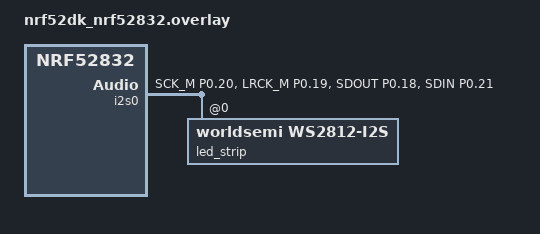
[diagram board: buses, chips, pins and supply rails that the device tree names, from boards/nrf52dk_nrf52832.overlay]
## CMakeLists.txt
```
cmake_minimum_required(VERSION 3.20.0)
find_package(Zephyr REQUIRED HINTS $ENV{ZEPHYR_BASE})

project(moonboard-mini-led-nrf52dk)

FILE(GLOB app_sources src/*.c)
target_sources(app PRIVATE ${app_sources})
```

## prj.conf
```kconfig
CONFIG_LED_STRIP=y

# Enable the bluetooth
CONFIG_BT=y
CONFIG_BT_PERIPHERAL=y
CONFIG_BT_DEVICE_NAME="Moonboard Mini"
CONFIG_BT_MAX_CONN=3
CONFIG_BT_MAX_PAIRED=0

# Enable the NUS service
CONFIG_BT_NUS=y
CONFIG_BT_NUS_SECURITY_ENABLED=n
```

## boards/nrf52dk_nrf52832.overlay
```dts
#include <zephyr/dt-bindings/led/led.h>

&pinctrl {
	i2s0_default_alt: i2s0_default_alt {
		group1 {
			psels = <NRF_PSEL(I2S_SCK_M, 0, 20)>,
				<NRF_PSEL(I2S_LRCK_M, 0, 19)>,
				<NRF_PSEL(I2S_SDOUT, 0, 18)>,
				<NRF_PSEL(I2S_SDIN, 0, 21)>;
		};
	};
};

i2s_led: &i2s0 {
	status = "okay";
	pinctrl-0 = <&i2s0_default_alt>;
	pinctrl-names = "default";

	led_strip: ws2812@0 {
		compatible = "worldsemi,ws2812-i2s";

		reg = <0>;
		chain-length = <150>; // arbitrary; change at will
		color-mapping = <LED_COLOR_ID_RED
					LED_COLOR_ID_GREEN
					LED_COLOR_ID_BLUE>;
		reset-delay = <120>;
	};
};

/ {
	aliases {
		led-strip = &led_strip;
	};
};
```

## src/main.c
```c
#include "moonboard.h"

int main(void)
{
        moonboard_init();

        while(1)
        {
                moonboard_process();
        }

        return 0;
}
```

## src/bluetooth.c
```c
#include <zephyr/types.h>
#include <zephyr/kernel.h>

#include <zephyr/device.h>
#include <zephyr/devicetree.h>
#include <soc.h>

#include <zephyr/bluetooth/bluetooth.h>
#include <zephyr/bluetooth/uuid.h>
#include <zephyr/bluetooth/gatt.h>
#include <zephyr/bluetooth/hci.h>

#include <bluetooth/services/nus.h>

#include <stdio.h>
#include <string.h>

#include "bluetooth.h"

// Bluetooth
#define STACKSIZE CONFIG_BT_NUS_THREAD_STACK_SIZE
#define PRIORITY 7

#define DEVICE_NAME CONFIG_BT_DEVICE_NAME
#define DEVICE_NAME_LEN	(sizeof(DEVICE_NAME) - 1)

static struct bt_conn *current_conn;
static struct k_work adv_work;

static const struct bt_data ad[] = {
	BT_DATA_BYTES(BT_DATA_FLAGS, (BT_LE_AD_GENERAL | BT_LE_AD_NO_BREDR)),
	BT_DATA(BT_DATA_NAME_COMPLETE, DEVICE_NAME, DEVICE_NAME_LEN),
};

static const struct bt_data sd[] = {
	BT_DATA_BYTES(BT_DATA_UUID128_ALL, BT_UUID_NUS_VAL),
};

static char message[64];
static unsigned int message_length;
static unsigned int message_position;
static bool message_received;
static char pending_message[64];
static bool disconnected;

static void adv_work_handler(struct k_work *work)
{
	int err = bt_le_adv_start(BT_LE_ADV_CONN_FAST_2, ad, ARRAY_SIZE(ad), sd, ARRAY_SIZE(sd));

	if (err) {
		return;
	}
}

static void advertising_start(void)
{
	k_work_submit(&adv_work);
}

static void connected_cb(struct bt_conn *conn, uint8_t err)
{
	disconnected = false;
	current_conn = bt_conn_ref(conn);
}

static void disconnected_cb(struct bt_conn *conn, uint8_t reason)
{
	disconnected = true;
	if (current_conn) {
		bt_conn_unref(current_conn);
		current_conn = NULL;
	}
}

static void recycled_cb(void)
{
	advertising_start();
}

BT_CONN_CB_DEFINE(conn_callbacks) = {
	.connected        = connected_cb,
	.disconnected     = disconnected_cb,
	.recycled         = recycled_cb,
};

static void bt_receive_cb(struct bt_conn *conn, const uint8_t *const data,
			  uint16_t len)
{
	for (uint16_t pos = 0; pos != len;) {
		// /* Keep the last byte of TX buffer for potential LF char. */
		size_t tx_data_size = sizeof(message) - 1;

		if ((len - pos) > tx_data_size) {
			message_length = tx_data_size;
		} else {
			message_length = (len - pos);
		}

		memcpy(&message[message_position], &data[pos], len);

		pos += message_length;
		message_position += message_length;

		// /* Append the LF character when the CR character triggered
		//  * transmission from the peer.
		//  */
		if ((pos == len) && (data[len - 1] == '#')) {
			memcpy(&pending_message[0], &message[0], message_position);
			message_received = true;
			message_length = 0;
			message_position = 0;
		}
	}
}

static struct bt_nus_cb nus_cb = {
	.received = bt_receive_cb,
};

void error(void)
{
	while (true) {
		/* Spin for ever */
		k_sleep(K_MSEC(1000));
	}
}

void bluetooth_init(void)
{
	int err = 0;

	err = bt_enable(NULL);
	if (err) {
		error();
	}

	err = bt_nus_init(&nus_cb);
	if (err) {
		error();
	}

	k_work_init(&adv_work, adv_work_handler);
	advertising_start();
}

char * bluetooth_get_message(void)
{
    return &pending_message[0];
}

bool bluetooth_message_received(void)
{
    bool value = message_received;

    if (value)
    {
        message_received = false;
    }

    return value;
}

bool bluetooth_disconnected(void)
{
	return disconnected;
}
```

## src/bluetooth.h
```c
#ifndef BLUETOOTH_H
#define BLUETOOTH_H

#include <stdbool.h>

void bluetooth_init(void);
char * bluetooth_get_message(void);
bool bluetooth_message_received(void);
bool bluetooth_disconnected(void);

#endif // BLUETOOTH_H
```

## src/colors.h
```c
#ifndef COLORS_H
#define COLORS_H

enum colors_e
{
    COLOR_NONE = 0,
    COLOR_RED,
    COLOR_GREEN,
    COLOR_BLUE,
    COLOR_CYAN,
    COLOR_MAGENTA,
};

#endif // COLORS_H
```

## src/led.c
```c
#include <zephyr/kernel.h>
#include <zephyr/drivers/led_strip.h>

#include "led.h"

#define STRIP_NODE		        DT_ALIAS(led_strip)
#define RGB(_r, _g, _b)         { .r = (_r), .g = (_g), .b = (_b) }

static const struct device *const strip = DEVICE_DT_GET(STRIP_NODE);

static const struct led_rgb rgb_colors[] = {
    [COLOR_NONE]    = RGB(0x00, 0x00, 0x00),
    [COLOR_RED]     = RGB(0x3F, 0x00, 0x00),
    [COLOR_GREEN]   = RGB(0x00, 0x3F, 0x00),
    [COLOR_BLUE]    = RGB(0x00, 0x00, 0x3F),
    [COLOR_CYAN]    = RGB(0x00, 0x3F, 0x3F),
    [COLOR_MAGENTA] = RGB(0x3F, 0x00, 0x3F),
};

struct led_t
{
    unsigned int count;
    unsigned int brightness;

    struct led_rgb leds[LED_MAX_COUNT];
};

struct led_t * led_init(int count)
{
    static struct led_t instances[1] = { 0 };
    static unsigned int instance_id;

    struct led_t * self = &instances[instance_id++];
    self->count = count;

	if (!device_is_ready(strip)) {
        return NULL;
	}

    return self;
}

void led_set_color(struct led_t * self, unsigned int id, enum colors_e color)
{
    memcpy(&self->leds[id], &rgb_colors[color], sizeof(struct led_rgb));
}

void led_set_brightness(struct led_t * self, unsigned int brightness)
{
    self->brightness = brightness;
}

void led_reset(struct led_t * self)
{
    memset(&self->leds, 0x00, sizeof(self->leds));
}

void led_update(struct led_t * self)
{
    led_strip_update_rgb(strip, self->leds, self->count);
}
```

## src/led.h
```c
#ifndef LED_H
#define LED_H

#include "colors.h"

#define LED_MAX_COUNT   198

struct led_t;

struct led_t * led_init(int count);
void led_set_color(struct led_t * self, unsigned int id, enum colors_e color);
void led_set_brightness(struct led_t * self, unsigned int brightness);
void led_reset(struct led_t * self);
void led_update(struct led_t * self);

#endif // LED_H
```

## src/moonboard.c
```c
#include <stdbool.h>
#include <stdio.h>
#include <stdlib.h>
#include <string.h>

#include "bluetooth.h"
#include "colors.h"
#include "led.h"
#include "moonboard.h"

#define MOONBOARD_LED_COUNT     150

enum moonboard_hold_e
{
    MOONBOARD_HOLD_NONE = 0,
    MOONBOARD_HOLD_START,
    MOONBOARD_HOLD_REGULAR,
    MOONBOARD_HOLD_END,
    MOONBOARD_HOLD_RIGHT,
    MOONBOARD_HOLD_LEFT,
    MOONBOARD_HOLD_FOOT,

    // End
    MOONBOARD_HOLD_MAX,
};

static const char moonboard_hold_letters0[] = {
    [MOONBOARD_HOLD_NONE]       = '\0',
    [MOONBOARD_HOLD_START]      = 'S',
    [MOONBOARD_HOLD_REGULAR]    = 'R',
    [MOONBOARD_HOLD_END]        = 'E',
    [MOONBOARD_HOLD_MAX]        = '\0',
};

static const char moonboard_hold_letters1[] = {
    [MOONBOARD_HOLD_NONE]       = '\0',
    [MOONBOARD_HOLD_START]      = 'S',
    [MOONBOARD_HOLD_END]        = 'E',
    [MOONBOARD_HOLD_RIGHT]      = 'R',
    [MOONBOARD_HOLD_LEFT]       = 'L',
    [MOONBOARD_HOLD_FOOT]       = 'F',
    [MOONBOARD_HOLD_MAX]        = '\0',
};

static const enum colors_e moonboard_hold_colors[] = {
    [MOONBOARD_HOLD_NONE]       = COLOR_NONE,
    [MOONBOARD_HOLD_START]      = COLOR_GREEN,
    [MOONBOARD_HOLD_REGULAR]    = COLOR_BLUE,
    [MOONBOARD_HOLD_END]        = COLOR_RED,
    [MOONBOARD_HOLD_RIGHT]      = COLOR_BLUE,
    [MOONBOARD_HOLD_LEFT]       = COLOR_CYAN,
    [MOONBOARD_HOLD_FOOT]       = COLOR_MAGENTA,
};

static enum moonboard_hold_e moonboard[MOONBOARD_LED_COUNT];

static struct led_t * moonboard_led;

static void moonboard_parse_message(char * message);
static void moonboard_led_reset(void);
static void moonboard_led_update(void);
static enum moonboard_hold_e moonboard_hold_from_character(const char * lookup, char c);

enum moonboard_status_e moonboard_init(void)
{
    bluetooth_init();
    moonboard_led = led_init(MOONBOARD_LED_COUNT);

    led_update(moonboard_led);

    return MOONBOARD_STATUS_SUCCESS;
}

void moonboard_process(void)
{
    char * message;
    bool message_received = bluetooth_message_received();
    bool disconnected = bluetooth_disconnected();

    if (message_received)
    {
        moonboard_led_reset();
        message = bluetooth_get_message();
        moonboard_parse_message(message);
        moonboard_led_update();
    }
    else if (disconnected)
    {
        moonboard_led_reset();
        moonboard_led_update();
    }
}

static void moonboard_parse_message(char * message)
{
    char * token;
    const char * start_of_frame = "~";
    const char * section = "*l#";
    const char * delimiter = ",";
    
    char * frame = strtok(message, start_of_frame);
    
    // Split input into settings and payload
    char * settings = strtok(frame, section);
    char * payload = strtok(NULL, section);
    
    // Parse settings
    token = strtok(settings, delimiter);
    while (token != NULL)
    {
        token = strtok(NULL, delimiter);
    }

    // Parse payload
    token = strtok(payload, delimiter);
    while (token != NULL)
    {
        enum moonboard_hold_e hold = moonboard_hold_from_character(&moonboard_hold_letters0[0], token[0]);

        int number = atoi(&token[1]);
        number -= 1;

        moonboard[number] = hold;

        token = strtok(NULL, delimiter);
    }
}

static void moonboard_led_reset(void)
{
    memset(&moonboard[0], 0, sizeof(moonboard));
}

static void moonboard_led_update(void)
{
    enum moonboard_hold_e hold = MOONBOARD_HOLD_NONE;

    led_reset(moonboard_led);

    for(int i=0; i<sizeof(moonboard); i++)
    {
        hold = moonboard[i];

        if(hold != MOONBOARD_HOLD_NONE)
        {
            led_set_color(moonboard_led, i, moonboard_hold_colors[hold]);
        }
    }

    led_update(moonboard_led);
}

static enum moonboard_hold_e moonboard_hold_from_character(const char * lookup, char c)
{
    enum moonboard_hold_e hold = MOONBOARD_HOLD_NONE;

    int i = 0;
    while (lookup[i] != MOONBOARD_HOLD_MAX)
    {
        if (lookup[i] == c)
        {
            hold = (enum moonboard_hold_e)i;
            break;
        }
        
        i++;
    }

    return hold;
}
```

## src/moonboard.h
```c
#ifndef MOONBOARD_H
#define MOONBOARD_H

enum moonboard_status_e
{
    MOONBOARD_STATUS_SUCCESS = 0,
    MOONBOARD_STATUS_FAILURE_LED,
};

enum moonboard_status_e moonboard_init(void);
void moonboard_process(void);

#endif // MOONBOARD_H
```
